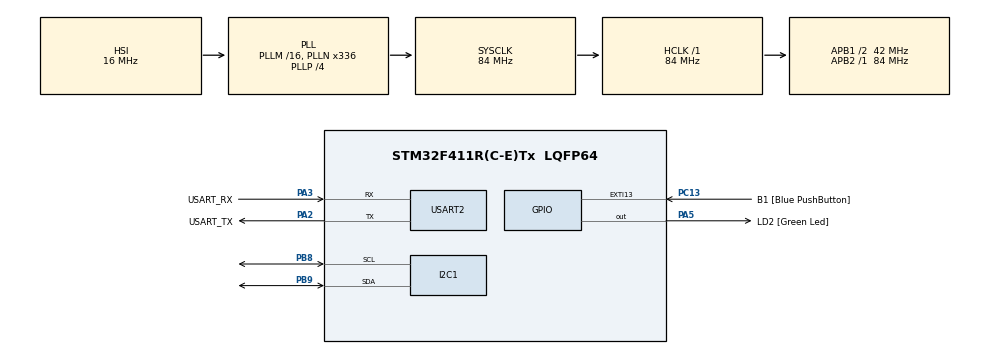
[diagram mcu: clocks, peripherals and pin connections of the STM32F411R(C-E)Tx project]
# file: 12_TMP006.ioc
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Mcu.Family=STM32F4
Mcu.Name=STM32F411R(C-E)Tx
Mcu.Package=LQFP64
NVIC.PriorityGroup=NVIC_PRIORITYGROUP_0
NVIC.USART2_IRQn=true\:0\:0\:false\:false\:true\:true\:true
PA13.GPIO_Label=TMS
PA13.Mode=Serial_Wire
PA13.Signal=SYS_JTMS-SWDIO
PA14.GPIO_Label=TCK
PA14.Mode=Serial_Wire
PA14.Signal=SYS_JTCK-SWCLK
PA2.GPIO_Label=USART_TX
PA2.Mode=Asynchronous
PA2.Signal=USART2_TX
PA3.GPIO_Label=USART_RX
PA3.Mode=Asynchronous
PA3.Signal=USART2_RX
PA5.GPIO_Label=LD2 [Green Led]
PA5.Signal=GPIO_Output
PB3.GPIO_Label=SWO
PB3.Signal=SYS_JTDO-SWO
PB8.Mode=I2C
PB8.Signal=I2C1_SCL
PB9.Mode=I2C
PB9.Signal=I2C1_SDA
PC13-ANTI_TAMP.GPIO_Label=B1 [Blue PushButton]
PC13-ANTI_TAMP.GPIO_ModeDefaultEXTI=GPIO_MODE_IT_FALLING
PC13-ANTI_TAMP.Signal=GPXTI13
PC14-OSC32_IN.Mode=LSE-External-Oscillator
PC14-OSC32_IN.Signal=RCC_OSC32_IN
PC15-OSC32_OUT.Mode=LSE-External-Oscillator
PC15-OSC32_OUT.Signal=RCC_OSC32_OUT
PH0\ -\ OSC_IN.Mode=HSE-External-Clock-Source
PH0\ -\ OSC_IN.Signal=RCC_OSC_IN
PH1\ -\ OSC_OUT.Mode=HSE-External-Clock-Source
PH1\ -\ OSC_OUT.Signal=RCC_OSC_OUT
ProjectManager.HeapSize=0x200
ProjectManager.StackSize=0x400
ProjectManager.TargetToolchain=STM32CubeIDE
RCC.48MHZClocksFreq_Value=84000000
RCC.AHBFreq_Value=84000000
RCC.APB1CLKDivider=RCC_HCLK_DIV2
RCC.APB1Freq_Value=42000000
RCC.APB1TimFreq_Value=84000000
RCC.APB2Freq_Value=84000000
RCC.APB2TimFreq_Value=84000000
RCC.CortexFreq_Value=84000000
RCC.FLatency-AdvancedSettings=FLASH_LATENCY_2
RCC.HCLKFreq_Value=84000000
RCC.HSE_VALUE=8000000
RCC.HSI_VALUE=16000000
RCC.PLLN=336
RCC.PLLP=RCC_PLLP_DIV4
RCC.SYSCLKFreq_VALUE=84000000
RCC.SYSCLKSource=RCC_SYSCLKSOURCE_PLLCLK
RCC.VCOOutputFreq_Value=336000000
USART2.VirtualMode=VM_ASYNC
board=NUCLEO-F411RE

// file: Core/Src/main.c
/* USER CODE BEGIN Header */
/**
  ******************************************************************************
  * @file           : main.c
  * @brief          : Main program body
  ******************************************************************************
  * @attention
  *
  * Copyright (c) 2022 STMicroelectronics.
  * All rights reserved.
  *
  * This software is licensed under terms that can be found in the LICENSE file
  * in the root directory of this software component.
  * If no LICENSE file comes with this software, it is provided AS-IS.
  *
  ******************************************************************************
  */
/* USER CODE END Header */
#include "main.h"

/* USER CODE BEGIN Includes */
#include <string.h>
#include <stdio.h>
/* USER CODE END Includes */

I2C_HandleTypeDef hi2c1;

UART_HandleTypeDef huart2;

/* USER CODE BEGIN PV */
static const uint8_t TMP006_ADDR = 0x40 << 1; //Use 8-bit, we need 7-bit
static const uint8_t REG_TEMP = 0x01;
/* USER CODE END PV */

void SystemClock_Config(void);
static void MX_GPIO_Init(void);
static void MX_USART2_UART_Init(void);
static void MX_I2C1_Init(void);

int main(void)
{
  /* USER CODE BEGIN 1 */
  HAL_StatusTypeDef ret; // Enum that gives us return values from communication functions
  uint8_t buf[16];
  int16_t val;
  float temp_c;
  /* USER CODE END 1 */

  /* MCU Configuration--------------------------------------------------------*/

  /* Reset of all peripherals, Initializes the Flash interface and the Systick. */
  HAL_Init();

  /* Configure the system clock */
  SystemClock_Config();

  /* Initialize all configured peripherals */
  MX_GPIO_Init();
  MX_USART2_UART_Init();
  MX_I2C1_Init();

  /* Infinite loop */
  /* USER CODE BEGIN WHILE */
  while (1)
  {
	// Tell TMP102 that we want to read from temp register
	buf[0] = REG_TEMP;
	ret = HAL_I2C_Master_Transmit(&hi2c1, TMP006_ADDR, buf, 1, HAL_MAX_DELAY);
	if (ret != HAL_OK) {
		strcpy((char*)buf, "Error Tx\r\n");
	}
	else {
		// Read 2 bytes from temp register
		ret = HAL_I2C_Master_Receive(&hi2c1, TMP006_ADDR, buf, 2, HAL_MAX_DELAY);
		if (ret != HAL_OK) {
			strcpy((char*)buf, "Error Rx\r\n");
		}
		else {
			// Combine the bytes
			val = ((int16_t)buf[0]<<6) | (buf[1] >> 2); //HERE
			// buf[0] 1100 1011 << 6 = 0011 0010 1100 0000
			// buf[1] 1111 1100 >> 2 = 0000 0000 0011 1111

			if ( val > 0x7FFF ) //aka if is negative
			{
				val |= 0xF0000; // we put add 1111 infront so its read as negative values (2's complient)
			}

			// Convert to float temp value in Celsius
			temp_c = val * 0.03125;

			// Convert temp to decimal format
			temp_c *= 100;
			sprintf((char*)buf, "%u.%02u C\r\n", ((unsigned int)temp_c / 100), ((unsigned int)temp_c % 100));
		}
	}

	// strcpy((char*)buf, "Hello!\r\n");
	// Send out buffer (tmp or error msg)
	HAL_UART_Transmit(&huart2, buf, strlen((char*)buf), HAL_MAX_DELAY);

	// Wait
	HAL_Delay(500);
    /* USER CODE END WHILE */

  }
}

void SystemClock_Config(void)
{
  RCC_OscInitTypeDef RCC_OscInitStruct = {0};
  RCC_ClkInitTypeDef RCC_ClkInitStruct = {0};

  /** Configure the main internal regulator output voltage
  */
  __HAL_RCC_PWR_CLK_ENABLE();
  __HAL_PWR_VOLTAGESCALING_CONFIG(PWR_REGULATOR_VOLTAGE_SCALE1);
  /** Initializes the RCC Oscillators according to the specified parameters
  * in the RCC_OscInitTypeDef structure.
  */
  RCC_OscInitStruct.OscillatorType = RCC_OSCILLATORTYPE_HSI;
  RCC_OscInitStruct.HSIState = RCC_HSI_ON;
  RCC_OscInitStruct.HSICalibrationValue = RCC_HSICALIBRATION_DEFAULT;
  RCC_OscInitStruct.PLL.PLLState = RCC_PLL_ON;
  RCC_OscInitStruct.PLL.PLLSource = RCC_PLLSOURCE_HSI;
  RCC_OscInitStruct.PLL.PLLM = 16;
  RCC_OscInitStruct.PLL.PLLN = 336;
  RCC_OscInitStruct.PLL.PLLP = RCC_PLLP_DIV4;
  RCC_OscInitStruct.PLL.PLLQ = 4;
  if (HAL_RCC_OscConfig(&RCC_OscInitStruct) != HAL_OK)
  {
    Error_Handler();
  }
  /** Initializes the CPU, AHB and APB buses clocks
  */
  RCC_ClkInitStruct.ClockType = RCC_CLOCKTYPE_HCLK|RCC_CLOCKTYPE_SYSCLK
                              |RCC_CLOCKTYPE_PCLK1|RCC_CLOCKTYPE_PCLK2;
  RCC_ClkInitStruct.SYSCLKSource = RCC_SYSCLKSOURCE_PLLCLK;
  RCC_ClkInitStruct.AHBCLKDivider = RCC_SYSCLK_DIV1;
  RCC_ClkInitStruct.APB1CLKDivider = RCC_HCLK_DIV2;
  RCC_ClkInitStruct.APB2CLKDivider = RCC_HCLK_DIV1;

  if (HAL_RCC_ClockConfig(&RCC_ClkInitStruct, FLASH_LATENCY_2) != HAL_OK)
  {
    Error_Handler();
  }
}

static void MX_I2C1_Init(void)
{

  hi2c1.Instance = I2C1;
  hi2c1.Init.ClockSpeed = 100000;
  hi2c1.Init.DutyCycle = I2C_DUTYCYCLE_2;
  hi2c1.Init.OwnAddress1 = 0;
  hi2c1.Init.AddressingMode = I2C_ADDRESSINGMODE_7BIT;
  hi2c1.Init.DualAddressMode = I2C_DUALADDRESS_DISABLE;
  hi2c1.Init.OwnAddress2 = 0;
  hi2c1.Init.GeneralCallMode = I2C_GENERALCALL_DISABLE;
  hi2c1.Init.NoStretchMode = I2C_NOSTRETCH_DISABLE;
  if (HAL_I2C_Init(&hi2c1) != HAL_OK)
  {
    Error_Handler();
  }

}

static void MX_USART2_UART_Init(void)
{

  huart2.Instance = USART2;
  huart2.Init.BaudRate = 115200;
  huart2.Init.WordLength = UART_WORDLENGTH_8B;
  huart2.Init.StopBits = UART_STOPBITS_1;
  huart2.Init.Parity = UART_PARITY_NONE;
  huart2.Init.Mode = UART_MODE_TX_RX;
  huart2.Init.HwFlowCtl = UART_HWCONTROL_NONE;
  huart2.Init.OverSampling = UART_OVERSAMPLING_16;
  if (HAL_UART_Init(&huart2) != HAL_OK)
  {
    Error_Handler();
  }

}

static void MX_GPIO_Init(void)
{
  GPIO_InitTypeDef GPIO_InitStruct = {0};

  /* GPIO Ports Clock Enable */
  __HAL_RCC_GPIOC_CLK_ENABLE();
  __HAL_RCC_GPIOH_CLK_ENABLE();
  __HAL_RCC_GPIOA_CLK_ENABLE();
  __HAL_RCC_GPIOB_CLK_ENABLE();

  /*Configure GPIO pin Output Level */
  HAL_GPIO_WritePin(LD2_GPIO_Port, LD2_Pin, GPIO_PIN_RESET);

  /*Configure GPIO pin : B1_Pin */
  GPIO_InitStruct.Pin = B1_Pin;
  GPIO_InitStruct.Mode = GPIO_MODE_IT_FALLING;
  GPIO_InitStruct.Pull = GPIO_NOPULL;
  HAL_GPIO_Init(B1_GPIO_Port, &GPIO_InitStruct);

  /*Configure GPIO pin : LD2_Pin */
  GPIO_InitStruct.Pin = LD2_Pin;
  GPIO_InitStruct.Mode = GPIO_MODE_OUTPUT_PP;
  GPIO_InitStruct.Pull = GPIO_NOPULL;
  GPIO_InitStruct.Speed = GPIO_SPEED_FREQ_LOW;
  HAL_GPIO_Init(LD2_GPIO_Port, &GPIO_InitStruct);

}

void Error_Handler(void)
{
  __disable_irq();
  while (1)
  {
  }
}
